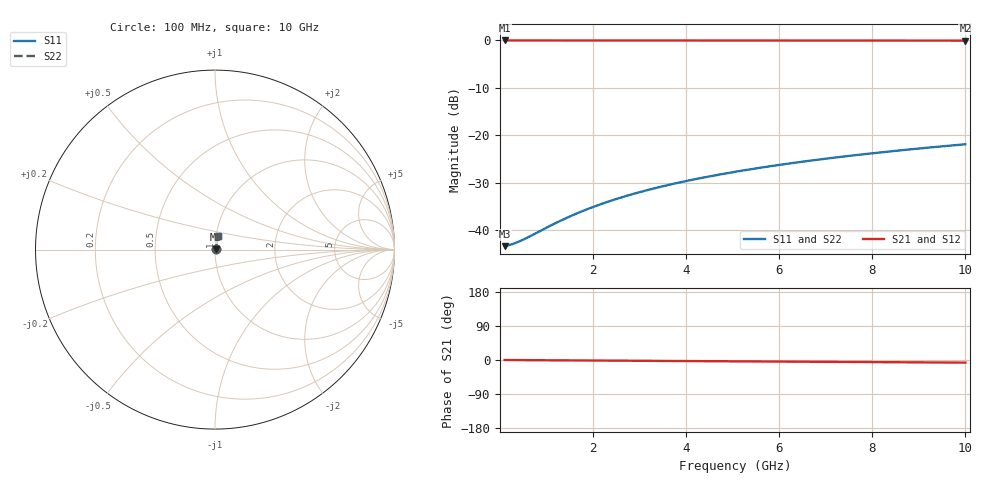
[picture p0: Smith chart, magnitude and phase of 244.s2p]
# Hz S RI R 50.00
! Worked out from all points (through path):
!   100 points, 100 MHz to 10 GHz, reference 50 ohm
!   highest |S21| = -0.06 dB at 100 MHz (marker M1); lowest = -0.1 dB at 10 GHz (marker M2)
!   lowest |S11| = -43.4 dB at 100 MHz (marker M3), VSWR 1.01, Z = 50.7 + j0.0804 ohm
!   |S11| at or under -10 dB: start of sweep to end of sweep
!   |S22| runs from -43.4 to -21.9 dB; largest |S21 - S12| = 0
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1e8  0.00672 0.000793  0.9933 -0.0012  0.9933 -0.0012  0.00672 0.000793
2e8  0.00677 0.00159  0.9932 -0.00241  0.9932 -0.00241  0.00677 0.00159
3e8  0.0068 0.00238  0.9932 -0.00361  0.9932 -0.00361  0.0068 0.00238
4e8  0.00684 0.00317  0.9932 -0.00481  0.9932 -0.00481  0.00684 0.00317
6e8  0.0069 0.00476  0.9931 -0.00722  0.9931 -0.00722  0.0069 0.00476
1e9  0.00702 0.00793  0.993 -0.012  0.993 -0.012  0.00702 0.00793
1.3e9  0.00712 0.0103  0.9929 -0.0156  0.9929 -0.0156  0.00712 0.0103
1.5e9  0.0072 0.0119  0.9928 -0.018  0.9928 -0.018  0.0072 0.0119
1.8e9  0.00732 0.0143  0.9926 -0.0216  0.9926 -0.0216  0.00732 0.0143
2.1e9  0.00746 0.0166  0.9925 -0.0252  0.9925 -0.0252  0.00746 0.0166
2.5e9  0.00766 0.0198  0.9923 -0.03  0.9923 -0.03  0.00766 0.0198
2.9e9  0.0079 0.023  0.992 -0.0348  0.992 -0.0348  0.0079 0.023
3.4e9  0.00823 0.0269  0.9917 -0.0408  0.9917 -0.0408  0.00823 0.0269
3.8e9  0.00853 0.0301  0.9913 -0.0456  0.9913 -0.0456  0.00853 0.0301
4.2e9  0.00886 0.0332  0.991 -0.0504  0.991 -0.0504  0.00886 0.0332
4.6e9  0.00922 0.0364  0.9906 -0.0552  0.9906 -0.0552  0.00922 0.0364
5.1e9  0.00971 0.0403  0.99 -0.0612  0.99 -0.0612  0.00971 0.0403
5.9e9  0.0106 0.0466  0.9891 -0.0707  0.9891 -0.0707  0.0106 0.0466
6.7e9  0.0116 0.0528  0.988 -0.0803  0.988 -0.0803  0.0116 0.0528
7.5e9  0.0127 0.059  0.9868 -0.0898  0.9868 -0.0898  0.0127 0.059
8.4e9  0.0141 0.066  0.9853 -0.1004  0.9853 -0.1004  0.0141 0.066
1e10  0.017 0.0783  0.9821 -0.1193  0.9821 -0.1193  0.017 0.0783
